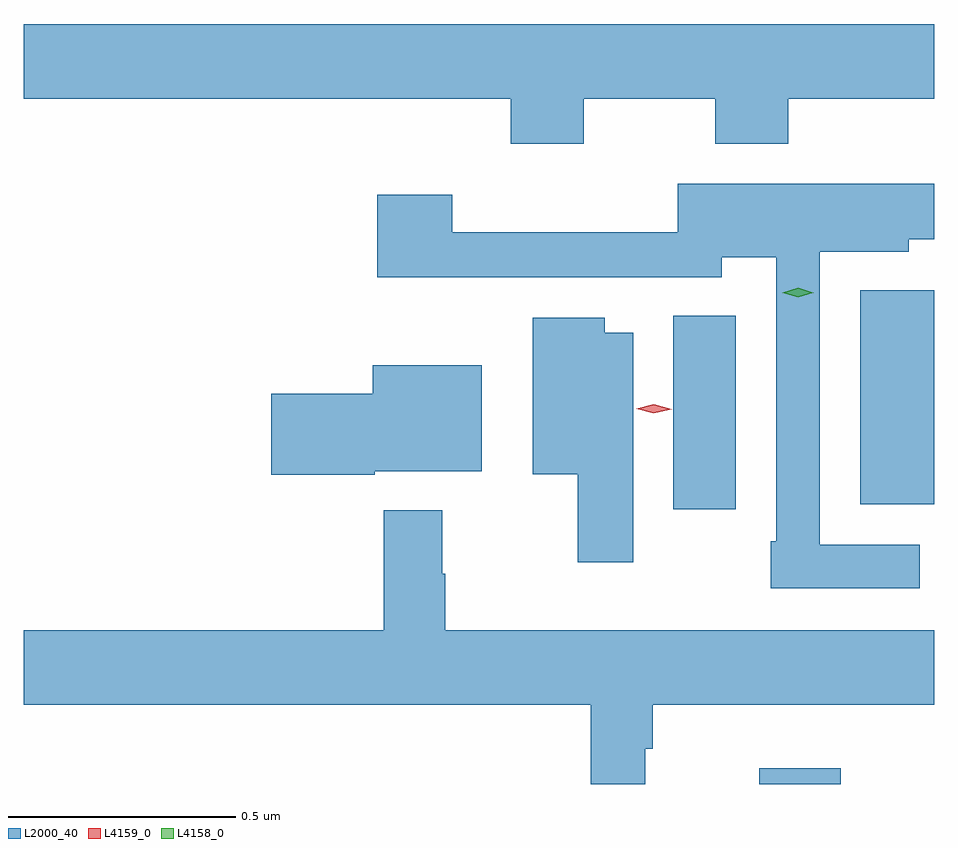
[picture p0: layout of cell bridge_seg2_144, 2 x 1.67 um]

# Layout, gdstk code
import gdstk
lib = gdstk.Library(unit=1e-6, precision=1e-09)
def R(c, l, rs):  # rectangles x0, y0, x1, y1
    for r in rs: c.add(gdstk.rectangle(r[:2], r[2:], *l))
def P(c, l, *ps):  # polygons
    for p in ps: c.add(gdstk.Polygon(p, *l))
L2000_40 = (2000, 40)
L4158_0 = (4158, 0)
L4159_0 = (4159, 0)

bridge_seg2_144 = lib.new_cell('bridge_seg2_144')
R(bridge_seg2_144, L2000_40, [(312.059,628.814,312.238,628.849), (311.87,629.418,312.007,629.843), (312.281,629.429,312.443,629.899)])
P(bridge_seg2_144, L2000_40, [(311.673,630.32),(311.962,630.32),(311.962,630.221),(312.122,630.221),(312.122,630.32),(312.443,630.32),(312.443,630.484),(310.443,630.484),(310.443,630.32),(311.513,630.32),(311.513,630.221),(311.673,630.221)],
  [(312.412,629.34),(312.192,629.34),(312.192,629.984),(312.387,629.984),(312.387,630.011),(312.443,630.011),(312.443,630.133),(311.88,630.133),(311.88,630.026),(311.384,630.026),(311.384,630.109),(311.219,630.109),(311.219,629.927),(311.465,629.927),(311.465,629.928),(311.976,629.928),(311.976,629.972),(312.096,629.972),(312.096,629.347),(312.084,629.347),(312.084,629.244),(312.412,629.244)],
  [(311.782,629.806),(311.719,629.806),(311.719,629.839),(311.561,629.839),(311.561,629.495),(311.66,629.495),(311.66,629.301),(311.782,629.301)],
  [(311.214,629.501),(311.449,629.501),(311.449,629.734),(311.21,629.734),(311.21,629.672),(310.986,629.672),(310.986,629.494),(311.214,629.494)],
  [(311.808,628.892),(311.825,628.892),(311.825,628.988),(312.443,628.988),(312.443,629.152),(311.369,629.152),(311.369,629.276),(311.362,629.276),(311.362,629.416),(311.234,629.416),(311.234,629.152),(310.443,629.152),(310.443,628.988),(311.689,628.988),(311.689,628.814),(311.808,628.814)])
P(bridge_seg2_144, L4158_0, [(312.144,629.884),(312.109,629.894),(312.109,629.894),(312.109,629.894),(312.144,629.904),(312.178,629.894),(312.179,629.894),(312.178,629.894)])
P(bridge_seg2_144, L4159_0, [(311.827,629.629),(311.788,629.639),(311.787,629.639),(311.788,629.639),(311.827,629.649),(311.867,629.638),(311.867,629.638),(311.867,629.638)])

lib.write_gds('bridge_seg2_144.gds')
